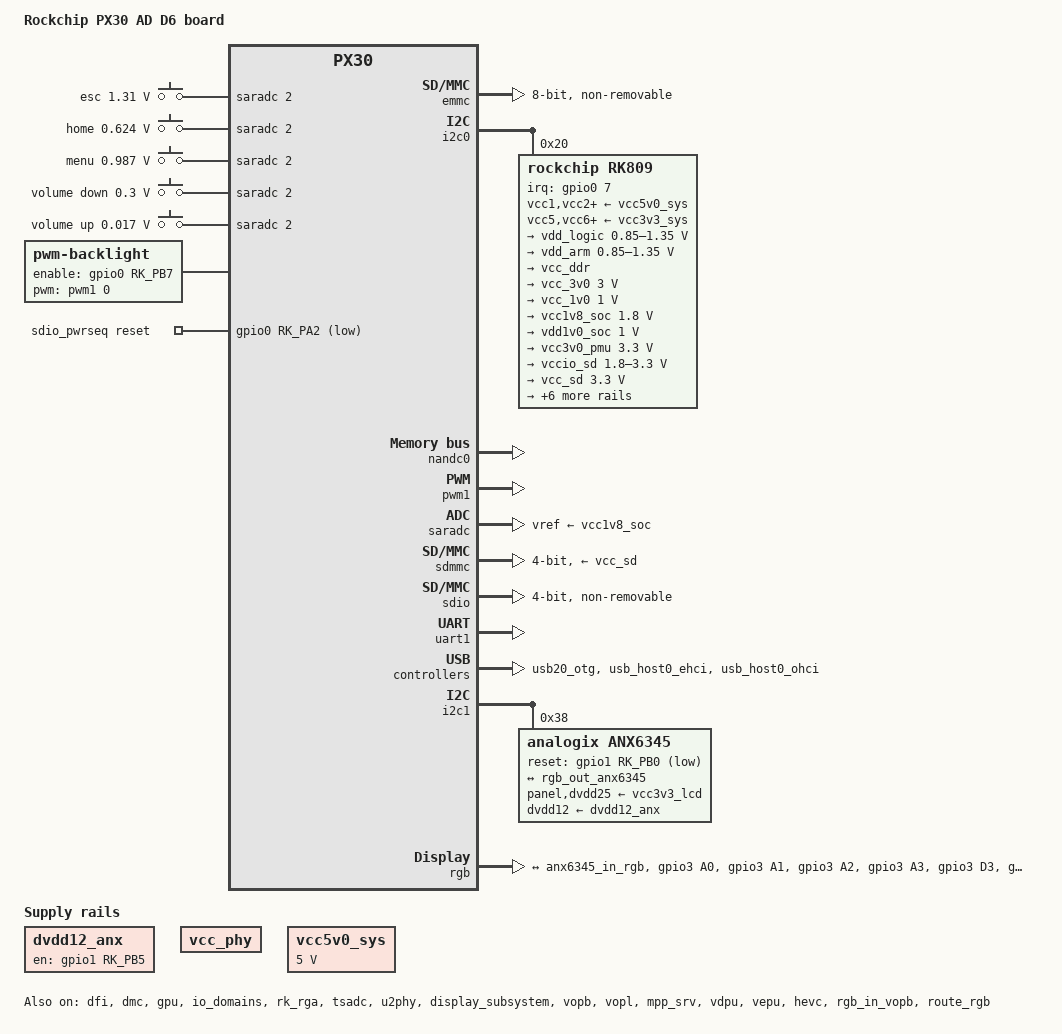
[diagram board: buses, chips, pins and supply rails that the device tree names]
// SPDX-License-Identifier: GPL-2.0
/*
 * Copyright (c) 2018 Fuzhou Rockchip Electronics Co., Ltd
 */

/dts-v1/;
#include <dt-bindings/gpio/gpio.h>
#include <dt-bindings/pinctrl/rockchip.h>
#include <dt-bindings/input/input.h>
#include <dt-bindings/display/drm_mipi_dsi.h>
#include <dt-bindings/sensor-dev.h>
#include "px30.dtsi"
#include "px30-android.dtsi"

/ {
	model = "Rockchip PX30 AD D6 board";
	compatible = "rockchip,px30-ad-d6", "rockchip,px30";

	dvdd12_anx: dvdd12-anx {
		compatible = "regulator-fixed";
		regulator-name = "dvdd12-anx";
		regulator-boot-on;
		gpio = <&gpio1 RK_PB5 GPIO_ACTIVE_HIGH>;
		enable-active-high;

		regulator-state-mem {
			regulator-off-in-suspend;
		};
	};

	adc-keys {
		compatible = "adc-keys";
		io-channels = <&saradc 2>;
		io-channel-names = "buttons";
		poll-interval = <100>;
		keyup-threshold-microvolt = <1800000>;

		esc-key {
			linux,code = <KEY_ESC>;
			label = "esc";
			press-threshold-microvolt = <1310000>;
		};

		home-key {
			linux,code = <KEY_HOME>;
			label = "home";
			press-threshold-microvolt = <624000>;
		};

		menu-key {
			linux,code = <KEY_MENU>;
			label = "menu";
			press-threshold-microvolt = <987000>;
		};

		vol-down-key {
			linux,code = <KEY_VOLUMEDOWN>;
			label = "volume down";
			press-threshold-microvolt = <300000>;
		};

		vol-up-key {
			linux,code = <KEY_VOLUMEUP>;
			label = "volume up";
			press-threshold-microvolt = <17000>;
		};
	};

	backlight: backlight {
		compatible = "pwm-backlight";
		pwms = <&pwm1 0 25000 0>;
		brightness-levels = <
			  0   1   2   3   4   5   6   7
			  8   9  10  11  12  13  14  15
			 16  17  18  19  20  21  22  23
			 24  25  26  27  28  29  30  31
			 32  33  34  35  36  37  38  39
			 40  41  42  43  44  45  46  47
			 48  49  50  51  52  53  54  55
			 56  57  58  59  60  61  62  63
			 64  65  66  67  68  69  70  71
			 72  73  74  75  76  77  78  79
			 80  81  82  83  84  85  86  87
			 88  89  90  91  92  93  94  95
			 96  97  98  99 100 101 102 103
			104 105 106 107 108 109 110 111
			112 113 114 115 116 117 118 119
			120 121 122 123 124 125 126 127
			128 129 130 131 132 133 134 135
			136 137 138 139 140 141 142 143
			144 145 146 147 148 149 150 151
			152 153 154 155 156 157 158 159
			160 161 162 163 164 165 166 167
			168 169 170 171 172 173 174 175
			176 177 178 179 180 181 182 183
			184 185 186 187 188 189 190 191
			192 193 194 195 196 197 198 199
			200 201 202 203 204 205 206 207
			208 209 210 211 212 213 214 215
			216 217 218 219 220 221 222 223
			224 225 226 227 228 229 230 231
			232 233 234 235 236 237 238 239
			240 241 242 243 244 245 246 247
			248 249 250 251 252 253 254 255>;
		default-brightness-level = <200>;
		enable-gpios = <&gpio0 RK_PB7 GPIO_ACTIVE_HIGH>;
	};

	sdio_pwrseq: sdio-pwrseq {
		compatible = "mmc-pwrseq-simple";
		pinctrl-names = "default";
		pinctrl-0 = <&wifi_enable_h>;

		/*
		 * On the module itself this is one of these (depending
		 * on the actual card populated):
		 * - SDIO_RESET_L_WL_REG_ON
		 * - PDN (power down when low)
		 */
		reset-gpios = <&gpio0 RK_PA2 GPIO_ACTIVE_LOW>;
	};

	vcc_phy: vcc-phy-regulator {
		compatible = "regulator-fixed";
		regulator-name = "vcc_phy";
		regulator-always-on;
		regulator-boot-on;
	};

	vcc5v0_sys: vccsys {
		compatible = "regulator-fixed";
		regulator-name = "vcc5v0_sys";
		regulator-always-on;
		regulator-boot-on;
		regulator-min-microvolt = <5000000>;
		regulator-max-microvolt = <5000000>;
	};
};

&bus_apll {
	bus-supply = <&vdd_logic>;
	status = "okay";
};

&cpu0 {
	cpu-supply = <&vdd_arm>;
};

&dfi {
	status = "okay";
};

&dmc {
	auto-freq-en = <0>;
	center-supply = <&vdd_logic>;
	status = "okay";
};

&emmc {
	bus-width = <8>;
	cap-mmc-highspeed;
	mmc-hs200-1_8v;
	no-sdio;
	no-sd;
	disable-wp;
	non-removable;
	num-slots = <1>;
	status = "okay";
};

&gpu {
	mali-supply = <&vdd_logic>;
	status = "okay";
};

&i2c0 {
	status = "okay";

	rk809: pmic@20 {
		compatible = "rockchip,rk809";
		reg = <0x20>;
		interrupt-parent = <&gpio0>;
		interrupts = <7 IRQ_TYPE_LEVEL_LOW>;
		pinctrl-names = "default", "pmic-sleep",
				"pmic-power-off", "pmic-reset";
		pinctrl-0 = <&pmic_int>;
		pinctrl-1 = <&soc_slppin_slp>, <&rk817_slppin_slp>;
		pinctrl-2 = <&soc_slppin_gpio>, <&rk817_slppin_pwrdn>;
		pinctrl-3 = <&soc_slppin_rst>, <&rk817_slppin_rst>;
		rockchip,system-power-controller;
		wakeup-source;
		#clock-cells = <1>;
		clock-output-names = "rk808-clkout1", "rk808-clkout2";
		pmic-reset-func = <1>;

		vcc1-supply = <&vcc5v0_sys>;
		vcc2-supply = <&vcc5v0_sys>;
		vcc3-supply = <&vcc5v0_sys>;
		vcc4-supply = <&vcc5v0_sys>;
		vcc5-supply = <&vcc3v3_sys>;
		vcc6-supply = <&vcc3v3_sys>;
		vcc7-supply = <&vcc3v3_sys>;
		vcc8-supply = <&vcc3v3_sys>;
		vcc9-supply = <&vcc5v0_sys>;

		pwrkey {
			status = "okay";
		};

		pinctrl_rk8xx: pinctrl_rk8xx {
			gpio-controller;
			#gpio-cells = <2>;

			rk817_slppin_null: rk817_slppin_null {
				pins = "gpio_slp";
				function = "pin_fun0";
			};

			rk817_slppin_slp: rk817_slppin_slp {
				pins = "gpio_slp";
				function = "pin_fun1";
			};

			rk817_slppin_pwrdn: rk817_slppin_pwrdn {
				pins = "gpio_slp";
				function = "pin_fun2";
			};

			rk817_slppin_rst: rk817_slppin_rst {
				pins = "gpio_slp";
				function = "pin_fun3";
			};
		};

		regulators {
			vdd_logic: DCDC_REG1 {
				regulator-always-on;
				regulator-boot-on;
				regulator-min-microvolt = <850000>;
				regulator-max-microvolt = <1350000>;
				regulator-ramp-delay = <6001>;
				regulator-initial-mode = <0x2>;
				regulator-name = "vdd_logic";

				regulator-state-mem {
					regulator-on-in-suspend;
					regulator-suspend-microvolt = <950000>;
				};
			};

			vdd_arm: DCDC_REG2 {
				regulator-always-on;
				regulator-boot-on;
				regulator-min-microvolt = <850000>;
				regulator-max-microvolt = <1350000>;
				regulator-ramp-delay = <6001>;
				regulator-initial-mode = <0x2>;
				regulator-name = "vdd_arm";

				regulator-state-mem {
					regulator-off-in-suspend;
					regulator-suspend-microvolt = <950000>;
				};
			};

			vcc_ddr: DCDC_REG3 {
				regulator-always-on;
				regulator-boot-on;
				regulator-name = "vcc_ddr";
				regulator-initial-mode = <0x2>;

				regulator-state-mem {
					regulator-on-in-suspend;
				};
			};

			vcc_3v0: DCDC_REG4 {
				regulator-always-on;
				regulator-boot-on;
				regulator-min-microvolt = <3000000>;
				regulator-max-microvolt = <3000000>;
				regulator-initial-mode = <0x2>;
				regulator-name = "vcc_3v0";

				regulator-state-mem {
					regulator-on-in-suspend;
					regulator-suspend-microvolt = <3000000>;
				};
			};

			vcc_1v0: LDO_REG1 {
				regulator-always-on;
				regulator-boot-on;
				regulator-min-microvolt = <1000000>;
				regulator-max-microvolt = <1000000>;
				regulator-name = "vcc_1v0";

				regulator-state-mem {
					regulator-on-in-suspend;
					regulator-suspend-microvolt = <1000000>;
				};
			};

			vcc1v8_soc: LDO_REG2 {
				regulator-always-on;
				regulator-boot-on;
				regulator-min-microvolt = <1800000>;
				regulator-max-microvolt = <1800000>;
				regulator-name = "vcc1v8_soc";

				regulator-state-mem {
					regulator-on-in-suspend;
					regulator-suspend-microvolt = <1800000>;
				};
			};

			vdd1v0_soc: LDO_REG3 {
				regulator-always-on;
				regulator-boot-on;
				regulator-min-microvolt = <1000000>;
				regulator-max-microvolt = <1000000>;
				regulator-name = "vcc1v0_soc";

				regulator-state-mem {
					regulator-on-in-suspend;
					regulator-suspend-microvolt = <1000000>;
				};
			};

			vcc3v0_pmu: LDO_REG4 {
				regulator-always-on;
				regulator-boot-on;
				regulator-min-microvolt = <3300000>;
				regulator-max-microvolt = <3300000>;
				regulator-name = "vcc3v0_pmu";

				regulator-state-mem {
					regulator-on-in-suspend;
					regulator-suspend-microvolt = <3300000>;

				};
			};

			vccio_sd: LDO_REG5 {
				regulator-always-on;
				regulator-boot-on;
				regulator-min-microvolt = <1800000>;
				regulator-max-microvolt = <3300000>;
				regulator-name = "vccio_sd";

				regulator-state-mem {
					regulator-on-in-suspend;
					regulator-suspend-microvolt = <3300000>;
				};
			};

			vcc_sd: LDO_REG6 {
				regulator-min-microvolt = <3300000>;
				regulator-max-microvolt = <3300000>;
				regulator-name = "vcc_sd";

				regulator-state-mem {
					regulator-on-in-suspend;
					regulator-suspend-microvolt = <3300000>;

				};
			};

			vcc2v8_dvp: LDO_REG7 {
				regulator-always-on;
				regulator-boot-on;
				regulator-min-microvolt = <2800000>;
				regulator-max-microvolt = <2800000>;
				regulator-name = "vcc2v8_dvp";

				regulator-state-mem {
					regulator-off-in-suspend;
					regulator-suspend-microvolt = <2800000>;
				};
			};

			vcc1v8_dvp: LDO_REG8 {
				regulator-always-on;
				regulator-boot-on;
				regulator-min-microvolt = <1800000>;
				regulator-max-microvolt = <1800000>;
				regulator-name = "vcc1v8_dvp";

				regulator-state-mem {
					regulator-on-in-suspend;
					regulator-suspend-microvolt = <1800000>;
				};
			};

			vdd1v5_dvp: LDO_REG9 {
				regulator-always-on;
				regulator-boot-on;
				regulator-min-microvolt = <1500000>;
				regulator-max-microvolt = <1500000>;
				regulator-name = "vdd1v5_dvp";

				regulator-state-mem {
					regulator-off-in-suspend;
					regulator-suspend-microvolt = <1500000>;
				};
			};

			vcc3v3_sys: DCDC_REG5 {
				regulator-always-on;
				regulator-boot-on;
				regulator-min-microvolt = <3300000>;
				regulator-max-microvolt = <3300000>;
				regulator-name = "vcc3v3_sys";

				regulator-state-mem {
					regulator-on-in-suspend;
					regulator-suspend-microvolt = <3300000>;
				};
			};

			vcc5v0_host: SWITCH_REG1 {
				regulator-name = "vcc5v0_host";
			};

			vcc3v3_lcd: SWITCH_REG2 {
				regulator-boot-on;
				regulator-name = "vcc3v3_lcd";

				regulator-state-mem {
					regulator-off-in-suspend;
				};
			};
		};
	};
};

&io_domains {
	vccio1-supply = <&vcc1v8_soc>;
	vccio2-supply = <&vccio_sd>;
	vccio3-supply = <&vcc_3v0>;
	vccio4-supply = <&vcc3v0_pmu>;
	vccio5-supply = <&vcc_3v0>;
	status = "okay";
};

&nandc0 {
	status = "okay";
};

&pmu_io_domains {
	pmuio1-supply = <&vcc3v0_pmu>;
	pmuio2-supply = <&vcc3v0_pmu>;
	status = "okay";
};

&pwm1 {
	status = "okay";
};

&rk_rga {
	status = "okay";
};

&rockchip_suspend {
	rockchip,sleep-debug-en = <1>;
	status = "okay";
};

&saradc {
	vref-supply = <&vcc1v8_soc>;
	status = "okay";
};

&sdmmc {
	bus-width = <4>;
	cap-mmc-highspeed;
	cap-sd-highspeed;
	no-sdio;
	no-mmc;
	card-detect-delay = <800>;
	ignore-pm-notify;
	sd-uhs-sdr12;
	sd-uhs-sdr25;
	sd-uhs-sdr50;
	sd-uhs-sdr104;
	vqmmc-supply = <&vccio_sd>;
	vmmc-supply = <&vcc_sd>;
	status = "okay";
};

&sdio {
	bus-width = <4>;
	cap-sd-highspeed;
	no-sd;
	no-mmc;
	ignore-pm-notify;
	keep-power-in-suspend;
	non-removable;
	mmc-pwrseq = <&sdio_pwrseq>;
	sd-uhs-sdr104;
	status = "okay";
};

&tsadc {
	pinctrl-names = "init", "default";
	pinctrl-0 = <&tsadc_otp_gpio>;
	pinctrl-1 = <&tsadc_otp_out>;
	status = "okay";
};

&uart1 {
	pinctrl-names = "default";
	pinctrl-0 = <&uart1_xfer &uart1_cts>;
	status = "okay";
};

&u2phy {
	status = "okay";

	u2phy_host: host-port {
		status = "okay";
	};

	u2phy_otg: otg-port {
		status = "okay";
	};
};

&usb20_otg {
	status = "okay";
};

&usb_host0_ehci {
	status = "okay";
};

&usb_host0_ohci {
	status = "okay";
};

&display_subsystem {
	status = "okay";
};

&vopb {
	status = "okay";
};

&vopb_mmu {
	status = "okay";
};

&vopl {
	status = "okay";
};

&vopl_mmu {
	status = "okay";
};

&mpp_srv {
	status = "okay";
};

&vdpu {
	status = "okay";
};

&vepu {
	status = "okay";
};

&vpu_mmu {
	status = "okay";
};

&hevc {
	status = "okay";
};

&hevc_mmu {
	status = "okay";
};

&i2c1 {
	status = "okay";

	anx6345@38 {
		compatible = "analogix,anx6345";
		reg = <0x38>;
		reset-gpios = <&gpio1 RK_PB0 GPIO_ACTIVE_LOW>;
		panel-supply = <&vcc3v3_lcd>;
		dvdd25-supply = <&vcc3v3_lcd>;
		dvdd12-supply = <&dvdd12_anx>;

		ports {
			#address-cells = <1>;
			#size-cells = <0>;

			port@0 {
				reg = <0>;

				anx6345_in_rgb: endpoint {
					remote-endpoint = <&rgb_out_anx6345>;
				};
			};
		};
	};
};

&rgb {
	pinctrl-names = "default", "sleep";
	pinctrl-0 = <&lcdc_rgb_pins>;
	pinctrl-1 = <&lcdc_sleep_pins>;
	status = "okay";

	ports {
		port@1 {
			reg = <1>;

			rgb_out_anx6345: endpoint {
				remote-endpoint = <&anx6345_in_rgb>;
			};
		};
	};
};

&rgb_in_vopb {
	status = "okay";
};

&rgb_in_vopl {
	status = "disabled";
};

&route_rgb {
	connect = <&vopb_out_rgb>;
	status = "okay";
};

&pinctrl {
	lcdc {
		lcdc_rgb_pins: lcdc-rgb-pins {
			rockchip,pins =
				<3 RK_PA0 1 &pcfg_pull_none_8ma>, /* LCDC_DCLK */
				<3 RK_PA1 1 &pcfg_pull_none_8ma>, /* LCDC_HSYNC */
				<3 RK_PA2 1 &pcfg_pull_none_8ma>, /* LCDC_VSYNC */
				<3 RK_PA3 1 &pcfg_pull_none_8ma>, /* LCDC_DEN */
				<3 RK_PD3 1 &pcfg_pull_none_8ma>, /* LCDC_D23 */
				<3 RK_PD2 1 &pcfg_pull_none_8ma>, /* LCDC_D22 */
				<3 RK_PD1 1 &pcfg_pull_none_8ma>, /* LCDC_D21 */
				<3 RK_PD0 1 &pcfg_pull_none_8ma>, /* LCDC_D20 */
				<3 RK_PC7 1 &pcfg_pull_none_8ma>, /* LCDC_D19 */
				<3 RK_PC6 1 &pcfg_pull_none_8ma>, /* LCDC_D18 */
				<3 RK_PC5 1 &pcfg_pull_none_8ma>, /* LCDC_D17 */
				<3 RK_PC4 1 &pcfg_pull_none_8ma>, /* LCDC_D16 */
				<3 RK_PC3 1 &pcfg_pull_none_8ma>, /* LCDC_D15 */
				<3 RK_PC2 1 &pcfg_pull_none_8ma>, /* LCDC_D14 */
				<3 RK_PC1 1 &pcfg_pull_none_8ma>, /* LCDC_D13 */
				<3 RK_PC0 1 &pcfg_pull_none_8ma>, /* LCDC_D12 */
				<3 RK_PB7 1 &pcfg_pull_none_8ma>, /* LCDC_D11 */
				<3 RK_PB6 1 &pcfg_pull_none_8ma>, /* LCDC_D10 */
				<3 RK_PB5 1 &pcfg_pull_none_8ma>, /* LCDC_D9 */
				<3 RK_PB4 1 &pcfg_pull_none_8ma>, /* LCDC_D8 */
				<3 RK_PB3 1 &pcfg_pull_none_8ma>, /* LCDC_D7 */
				<3 RK_PB2 1 &pcfg_pull_none_8ma>, /* LCDC_D6 */
				<3 RK_PB1 1 &pcfg_pull_none_8ma>, /* LCDC_D5 */
				<3 RK_PB0 1 &pcfg_pull_none_8ma>, /* LCDC_D4 */
				<3 RK_PA7 1 &pcfg_pull_none_8ma>, /* LCDC_D3 */
				<3 RK_PA6 1 &pcfg_pull_none_8ma>, /* LCDC_D2 */
				<3 RK_PA5 1 &pcfg_pull_none_8ma>, /* LCDC_D1 */
				<3 RK_PA4 1 &pcfg_pull_none_8ma>; /* LCDC_D0 */
		};

		lcdc_sleep_pins: lcdc-sleep-pins {
			rockchip,pins =
				<3 RK_PA0 RK_FUNC_GPIO &pcfg_pull_none>, /* LCDC_DCLK */
				<3 RK_PA1 RK_FUNC_GPIO &pcfg_pull_none>, /* LCDC_HSYNC */
				<3 RK_PA2 RK_FUNC_GPIO &pcfg_pull_none>, /* LCDC_VSYNC */
				<3 RK_PA3 RK_FUNC_GPIO &pcfg_pull_none>, /* LCDC_DEN */
				<3 RK_PD3 RK_FUNC_GPIO &pcfg_pull_none>, /* LCDC_D23 */
				<3 RK_PD2 RK_FUNC_GPIO &pcfg_pull_none>, /* LCDC_D22 */
				<3 RK_PD1 RK_FUNC_GPIO &pcfg_pull_none>, /* LCDC_D21 */
				<3 RK_PD0 RK_FUNC_GPIO &pcfg_pull_none>, /* LCDC_D20 */
				<3 RK_PC7 RK_FUNC_GPIO &pcfg_pull_none>, /* LCDC_D19 */
				<3 RK_PC6 RK_FUNC_GPIO &pcfg_pull_none>, /* LCDC_D18 */
				<3 RK_PC5 RK_FUNC_GPIO &pcfg_pull_none>, /* LCDC_D17 */
				<3 RK_PC4 RK_FUNC_GPIO &pcfg_pull_none>, /* LCDC_D16 */
				<3 RK_PC3 RK_FUNC_GPIO &pcfg_pull_none>, /* LCDC_D15 */
				<3 RK_PC2 RK_FUNC_GPIO &pcfg_pull_none>, /* LCDC_D14 */
				<3 RK_PC1 RK_FUNC_GPIO &pcfg_pull_none>, /* LCDC_D13 */
				<3 RK_PC0 RK_FUNC_GPIO &pcfg_pull_none>, /* LCDC_D12 */
				<3 RK_PB7 RK_FUNC_GPIO &pcfg_pull_none>, /* LCDC_D11 */
				<3 RK_PB6 RK_FUNC_GPIO &pcfg_pull_none>, /* LCDC_D10 */
				<3 RK_PB5 RK_FUNC_GPIO &pcfg_pull_none>, /* LCDC_D9 */
				<3 RK_PB4 RK_FUNC_GPIO &pcfg_pull_none>, /* LCDC_D8 */
				<3 RK_PB3 RK_FUNC_GPIO &pcfg_pull_none>, /* LCDC_D7 */
				<3 RK_PB2 RK_FUNC_GPIO &pcfg_pull_none>, /* LCDC_D6 */
				<3 RK_PB1 RK_FUNC_GPIO &pcfg_pull_none>, /* LCDC_D5 */
				<3 RK_PB0 RK_FUNC_GPIO &pcfg_pull_none>, /* LCDC_D4 */
				<3 RK_PA7 RK_FUNC_GPIO &pcfg_pull_none>, /* LCDC_D3 */
				<3 RK_PA6 RK_FUNC_GPIO &pcfg_pull_none>, /* LCDC_D2 */
				<3 RK_PA5 RK_FUNC_GPIO &pcfg_pull_none>, /* LCDC_D1 */
				<3 RK_PA4 RK_FUNC_GPIO &pcfg_pull_none>; /* LCDC_D0 */
		};
	};

	pmic {
		pmic_int: pmic_int {
			rockchip,pins =
				<0 RK_PA7 RK_FUNC_GPIO &pcfg_pull_up>;
		};

		soc_slppin_gpio: soc_slppin_gpio {
			rockchip,pins =
				<0 RK_PA4 RK_FUNC_GPIO &pcfg_output_low>;
		};

		soc_slppin_slp: soc_slppin_slp {
			rockchip,pins =
				<0 RK_PA4 1 &pcfg_pull_none>;
		};

		soc_slppin_rst: soc_slppin_rst {
			rockchip,pins =
				<0 RK_PA4 2 &pcfg_pull_none>;
		};
	};

	sdio-pwrseq {
		wifi_enable_h: wifi-enable-h {
			rockchip,pins = <0 RK_PA2 RK_FUNC_GPIO &pcfg_pull_none>;
		};
	};
};

&firmware_android {
	compatible = "android,firmware";

	fstab {
		compatible = "android,fstab";

		system {
			compatible = "android,system";
			dev = "/dev/block/by-name/system";
			type = "ext4";
			mnt_flags = "ro,barrier=1,inode_readahead_blks=8";
			fsmgr_flags = "wait";
		};

		vendor {
			compatible = "android,vendor";
			dev = "/dev/block/by-name/vendor";
			type = "ext4";
			mnt_flags = "ro,barrier=1,inode_readahead_blks=8";
			fsmgr_flags = "wait";
		};
	};
};
